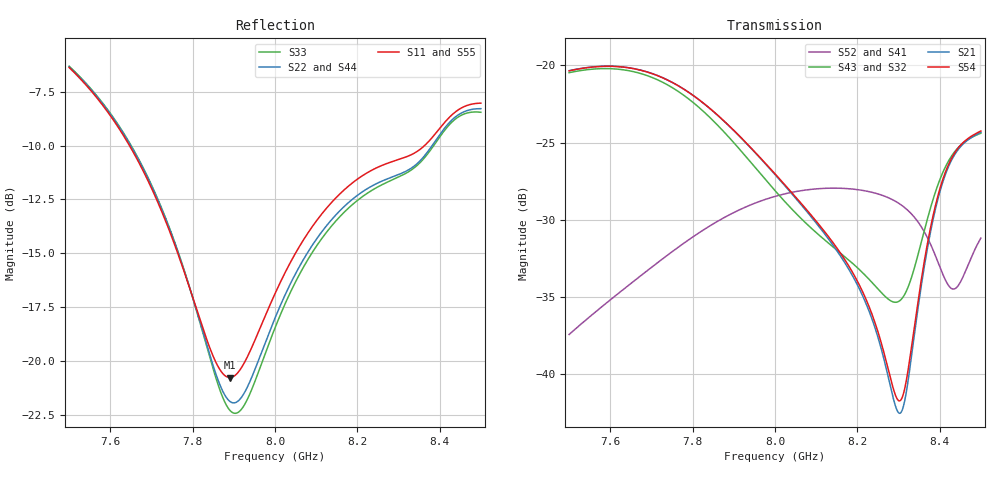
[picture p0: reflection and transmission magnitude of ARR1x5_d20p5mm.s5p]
! Touchstone file exported from HFSS 2025.1.0
!  File:  C:/Users/user/Documents/Ansoft/TFG_UWB-MIMO-Array.aedt
!  Generated:  04:10:10 PM Nov 20, 2026
!  Design:  ARR1x5_US3_PS6_4_dparam
!  Project:  TFG_UWB-MIMO-Array
!  Setup:  Setup_ch9
!  Solution:  Sweep_7p5_8p5
! Variables:
!  arr_d = 20.5mm
!  board_m = 13mm
!  board_x = 108mm
!  board_y = 26mm
!  cu_t = 0.035mm
!  line_w = 3.92mm
!  pad_xy = 22mm
!  pad_zn = 25mm
!  pad_zp = 33mm
!  par_L = 7.05mm
!  par_W = 13.58mm
!  par_yc = 0.615mm
!  par_z = 1.035mm
!  patch_L = 6.29mm
!  patch_W = 14mm
!  sub_h = 2.07mm
!  tr_l = 7.25mm
!  tr_w = 1mm
!  u_Lu = 2.65mm
!  u_Wu = 4.4mm
!  u_t = 0.8mm
!  u_y0 = -0.7mm
# GHz S MA R 50.000000
! Terminal data exported
! Port[1] = P1
! Port[2] = P2
! Port[3] = P3
! Port[4] = P4
! Port[5] = P5
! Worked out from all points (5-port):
!   1001 points, 7.5 GHz to 8.5 GHz, reference 50 ohm
!   strongest paths, dB at 7.5 GHz, 7.75 GHz, 8 GHz, 8.25 GHz, 8.5 GHz:
!     S54: -20.3, -21.1, -27.0, -37.3, -24.2
!     S21: -20.3, -21.1, -27.1, -37.6, -24.3
!     S43: -20.5, -21.4, -28.1, -34.5, -24.4
!     S32: -20.5, -21.4, -28.0, -34.2, -24.4
!     S52: -37.4, -32.1, -28.5, -28.3, -31.2
!     S41: -37.4, -32.1, -28.5, -28.3, -31.1
!   lowest |S11| = -20.8 dB at 7.89 GHz (marker M1), VSWR 1.20, Z = 59.2 - j3.97 ohm
!   |S11| at or under -10 dB: 7.647 GHz to 8.363 GHz (716.6 MHz wide, 8.95 % of centre)
